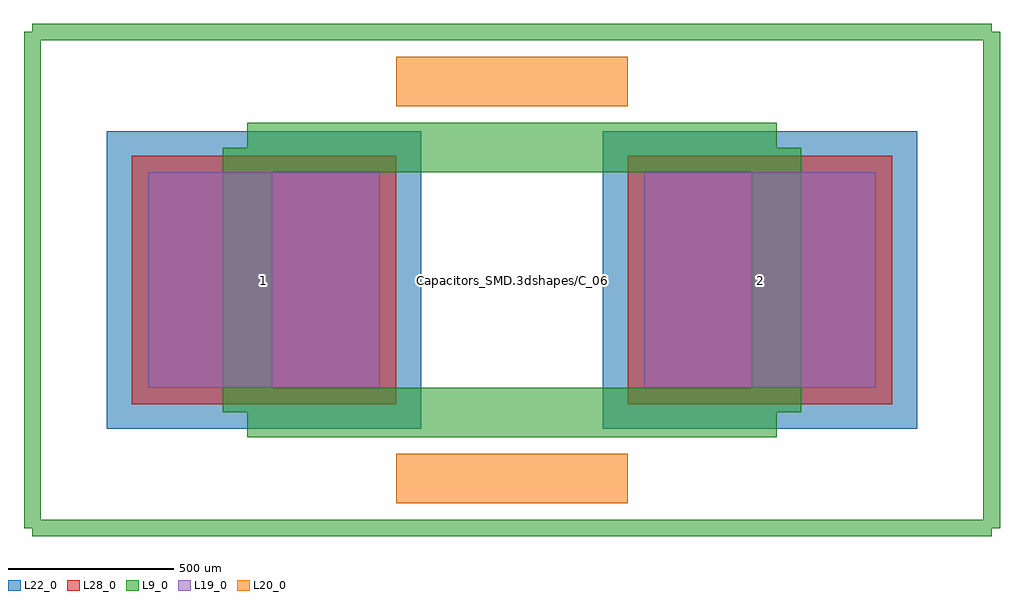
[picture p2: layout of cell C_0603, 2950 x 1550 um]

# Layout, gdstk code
import gdstk
lib = gdstk.Library(unit=1e-6, precision=1e-09)
def R(c, l, rs):  # rectangles x0, y0, x1, y1
    for r in rs: c.add(gdstk.rectangle(r[:2], r[2:], *l))
L9_0 = (9, 0)
L19_0 = (19, 0)
L20_0 = (20, 0)
L22_0 = (22, 0)
L28_0 = (28, 0)

c_0603 = lib.new_cell('C_0603')
R(c_0603, L19_0, [(-1100,-325,-400,325), (400,-325,1100,325)])
R(c_0603, L22_0, [(-1225,-450,-275,450), (275,-450,1225,450)])
R(c_0603, L28_0, [(-1150,-375,-350,375), (350,-375,1150,375)])
c_0603.add(gdstk.FlexPath([(350,-600),(-350,-600)], 149.998, ends="flush", simple_path=True, layer=20, datatype=0))  # L20_0
c_0603.add(gdstk.FlexPath([(-350,600),(350,600)], 149.998, ends="flush", simple_path=True, layer=20, datatype=0))  # L20_0
c_0603.add(gdstk.FlexPath([(1450,750),(1450,-750)], 50, ends="flush", simple_path=True, layer=9, datatype=0))  # L9_0
c_0603.add(gdstk.FlexPath([(-1450,750),(-1450,-750)], 50, ends="flush", simple_path=True, layer=9, datatype=0))  # L9_0
c_0603.add(gdstk.FlexPath([(-1450,-750),(1450,-750)], 50, ends="flush", simple_path=True, layer=9, datatype=0))  # L9_0
c_0603.add(gdstk.FlexPath([(-1450,750),(1450,750)], 50, ends="flush", simple_path=True, layer=9, datatype=0))  # L9_0
c_0603.add(gdstk.FlexPath([(-800,400),(800,400)], 149.998, ends="flush", simple_path=True, layer=9, datatype=0))  # L9_0
c_0603.add(gdstk.FlexPath([(800,400),(800,-400)], 149.998, ends="flush", simple_path=True, layer=9, datatype=0))  # L9_0
c_0603.add(gdstk.FlexPath([(800,-400),(-800,-400)], 149.998, ends="flush", simple_path=True, layer=9, datatype=0))  # L9_0
c_0603.add(gdstk.FlexPath([(-800,-400),(-800,400)], 149.998, ends="flush", simple_path=True, layer=9, datatype=0))  # L9_0
c_0603.add(gdstk.Label('Capacitors_SMD.3dshapes/C_0603.wrl', (0,0), layer=12, texttype=0))
c_0603.add(gdstk.Label('2', (750,0), layer=28, texttype=0))
c_0603.add(gdstk.Label('1', (-750,0), layer=28, texttype=0))
c_0603.add(gdstk.Label('type', (0,-1900), layer=9, texttype=0))
c_0603.add(gdstk.Label('devicename', (0,1900), layer=9, texttype=0))

lib.write_gds('C_0603.gds')
